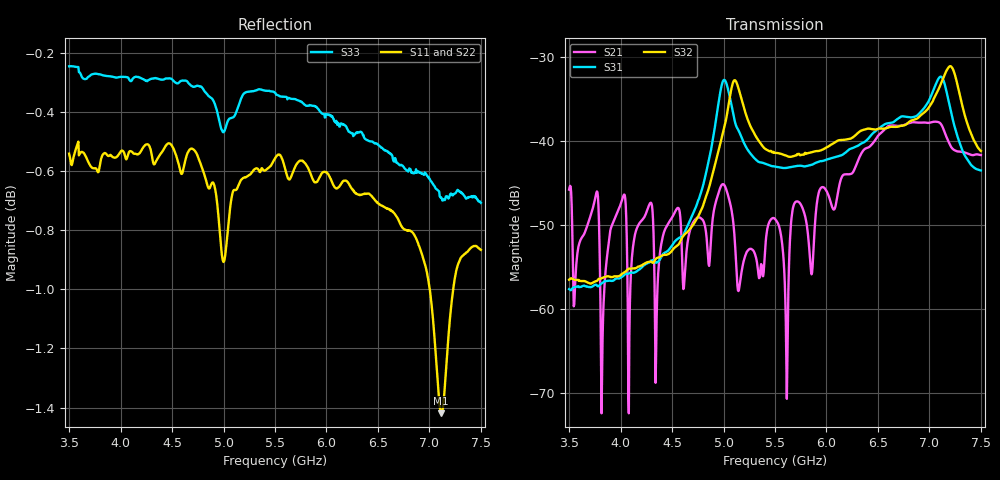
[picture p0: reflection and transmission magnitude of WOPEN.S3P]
!Agilent Technologies,E5071B,MY42403545,A.09.10
!Date: Thu Jul 11 06:59:01 2019
!Data & Calibration Information:
!Freq	S11:SOLT3(ON)	S12:SOLT3(ON)	S13:SOLT3(ON)
!	S21:SOLT3(ON)	S22:SOLT3(ON)	S23:SOLT3(ON)
!	S31:SOLT3(ON)	S32:SOLT3(ON)	S33:SOLT3(ON)
# Hz S dB R 50
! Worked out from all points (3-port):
!   801 points, 3.5 GHz to 7.5 GHz, reference 50 ohm
!   strongest paths, dB at 3.5 GHz, 4.5 GHz, 5.5 GHz, 6.5 GHz, 7.5 GHz:
!     S32: -56.5, -53.1, -41.4, -38.6, -41.2
!     S31: -57.7, -52.5, -43.1, -38.6, -43.5
!     S21: -45.8, -49.1, -49.3, -39.4, -41.7
!   lowest |S11| = -1.4 dB at 7.115 GHz (marker M1), VSWR 12.26, Z = 4.55 - j16.9 ohm
!   |S11| at or under -10 dB: nowhere
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3.5e9  -0.54 99.4  -45.98 -164.5  -57.46 175.9
       -45.80 -169.9  -0.43 104.6  -56.55 -176.7
       -57.66 174.5  -56.53 -176.3  -0.25 154.7
3.825e9  -0.55 77.6  -55.72 -122.0  -57.09 144.6
         -63.53 -150.5  -0.46 83.7  -56.14 148.4
         -56.88 142.9  -56.32 148.3  -0.28 137.1
4.025e9  -0.53 64.1  -47.20 172.8  -56.27 127.6
         -46.61 162.9  -0.47 70.8  -55.60 131.0
         -56.10 126.5  -55.76 130.0  -0.28 126.4
4.085e9  -0.53 60.5  -57.56 -109.7  -55.84 122.3
         -63.27 -131.0  -0.47 67.2  -55.06 124.5
         -55.75 120.6  -55.22 123.7  -0.29 123.1
5.005e9  -0.91 1.4  -45.11 158.5  -32.64 19.2
         -45.21 155.0  -0.67 7.3  -38.47 66.1
         -32.72 18.9  -38.52 65.9  -0.47 76.8
5.16e9  -0.64 -8.3  -61.26 -115.1  -39.06 -44.8
        -56.88 -114.1  -0.75 -0.1  -34.22 -20.5
        -39.14 -45.2  -34.37 -20.4  -0.37 69.9
5.5e9  -0.56 -31.0  -49.26 173.1  -42.97 -75.5
       -49.30 172.9  -0.54 -24.2  -41.21 -70.2
       -43.05 -75.1  -41.41 -70.2  -0.34 53.1
5.615e9  -0.61 -38.7  -73.32 31.7  -43.00 -84.6
         -70.73 20.2  -0.60 -32.4  -41.57 -81.1
         -43.21 -84.2  -41.78 -81.3  -0.35 47.0
7.115e9  -1.42 -142.3  -38.11 40.4  -32.36 85.5
         -38.04 40.6  -1.27 -146.3  -33.16 118.4
         -32.36 85.5  -33.10 118.7  -0.69 -28.4
7.5e9  -0.87 -170.1  -41.70 12.8  -43.51 47.5
       -41.68 13.3  -0.98 -171.8  -41.27 37.7
       -43.52 47.1  -41.20 38.2  -0.71 -49.5
